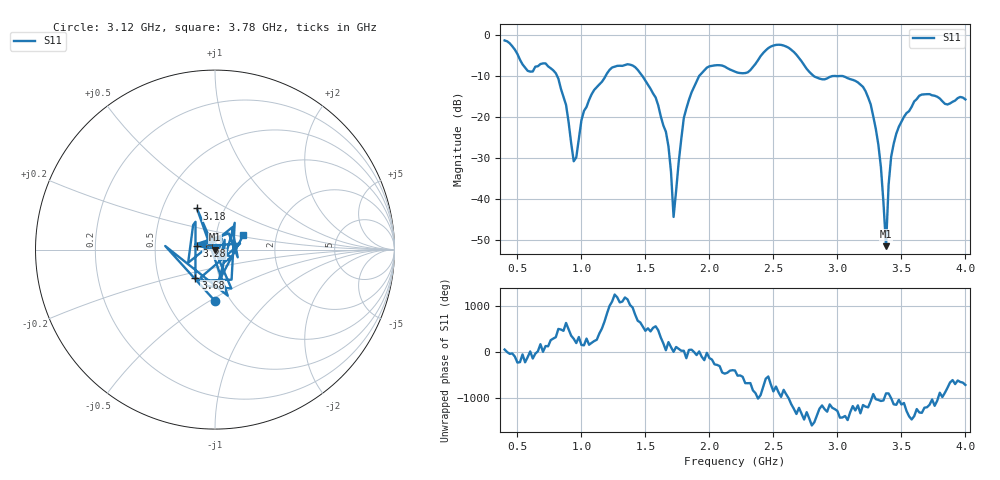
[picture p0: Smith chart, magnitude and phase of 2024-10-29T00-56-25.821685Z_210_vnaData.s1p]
!Created with skrf (http://scikit-rf.org).
# Hz S RI R 50.0
!freq ReS11 ImS11
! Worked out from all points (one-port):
!   181 points, 400 MHz to 4 GHz, reference 50 ohm
!   lowest |S11| = -51.6 dB at 3.38 GHz (marker M1), VSWR 1.01, Z = 49.7 - j0.0182 ohm
!   |S11| at or under -10 dB: 811.4 MHz to 1.188 GHz (376.3 MHz wide, 37.6 % of centre); 1.478 GHz to 1.919 GHz (440.6 MHz wide, 25.9 % of centre); 3.047 GHz to end of sweep (the widest 3 of 4)
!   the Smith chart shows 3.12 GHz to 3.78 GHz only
!   S11 on the Smith chart (normalised r, x): 3.12 GHz: 0.85, -0.53; 3.18 GHz: 0.74, +0.36; 3.28 GHz: 0.82, +0.03; 3.68 GHz: 0.77, -0.25; 3.78 GHz: 1.35, +0.23
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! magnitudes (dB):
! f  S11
! 400 MHz  -1.2
! 580 MHz  -8.7
! 780 MHz  -8.5
! 860 MHz  -15.0
! 940 MHz  -30.8
! 1.08 GHz  -14.4
! 1.3 GHz  -7.4
! 1.58 GHz  -15.2
! 1.68 GHz  -27.1
! 1.72 GHz  -44.4
! 1.76 GHz  -31.0
! 1.8 GHz  -20.2
! 1.92 GHz  -9.9
! 2.2 GHz  -8.9
! 2.66 GHz  -4.1
! 2.82 GHz  -10.1
! 3.1 GHz  -10.7
! 3.12 GHz  -10.9
! 3.18 GHz  -12.0
! 3.28 GHz  -19.8
! 3.34 GHz  -32.2
! 3.38 GHz  -51.6
! 3.4 GHz  -36.5
! 3.42 GHz  -29.7
! 3.56 GHz  -18.5
! 3.68 GHz  -14.4
! 3.78 GHz  -15.0
! 4 GHz  -15.7
